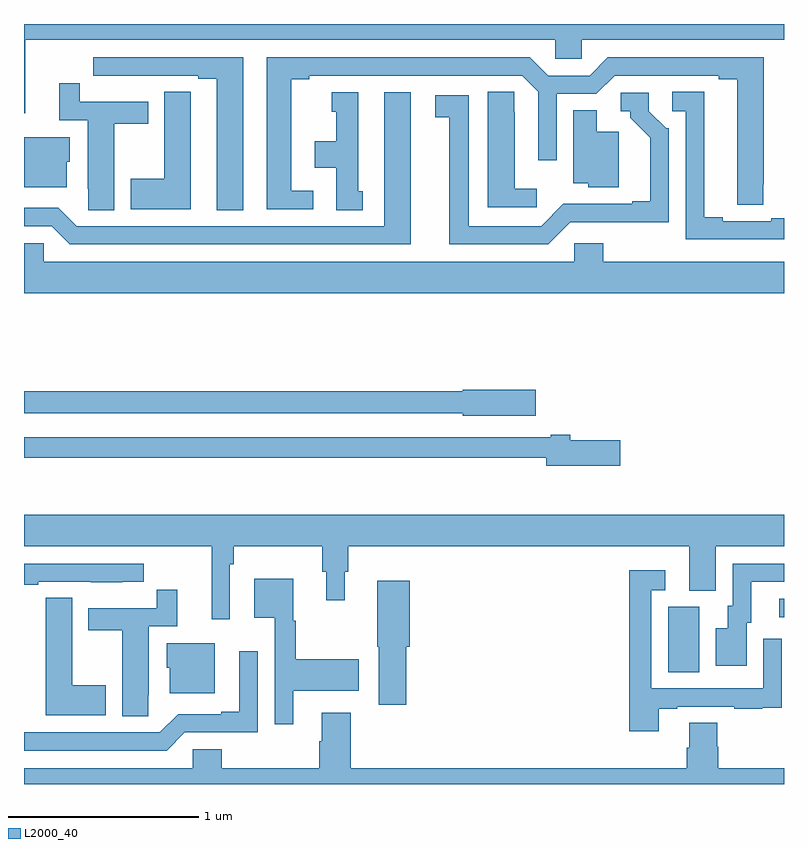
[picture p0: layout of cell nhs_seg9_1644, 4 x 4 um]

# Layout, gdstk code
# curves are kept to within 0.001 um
import gdstk
lib = gdstk.Library(unit=1e-6, precision=1e-09)
def R(c, l, rs):  # rectangles x0, y0, x1, y1
    for r in rs: c.add(gdstk.rectangle(r[:2], r[2:], *l))
def P(c, l, *ps):  # polygons
    for p in ps: c.add(gdstk.Polygon(p, *l))
L2000_40 = (2000, 40)

nhs_seg9_1644 = lib.new_cell('nhs_seg9_1644')
R(nhs_seg9_1644, L2000_40, [(206.39,1197.088,206.554,1197.432), (206.976,1197.378,207,1197.474)])
P(nhs_seg9_1644, L2000_40, [(203.006,1200.416),(205.797,1200.416),(205.797,1200.318),(205.935,1200.318),(205.935,1200.416),(207,1200.416),(207,1200.5),(203,1200.5),(203,1200.03),(203.006,1200.03)],
  [(204.523,1199.622),(204.406,1199.622),(204.406,1200.208),(204.502,1200.208),(204.502,1200.228),(205.623,1200.228),(205.707,1200.144),(205.707,1199.784),(205.803,1199.784),(205.803,1200.132),(206.013,1200.132),(206.109,1200.228),(206.657,1200.228),(206.657,1200.208),(206.753,1200.208),(206.753,1199.548),(206.892,1199.548),(206.893,1200.324),(206.073,1200.324),(205.977,1200.228),(205.759,1200.228),(205.663,1200.324),(204.278,1200.324),(204.278,1199.526),(204.523,1199.526)],
  [(204.154,1200.324),(203.364,1200.324),(203.364,1200.228),(203.476,1200.228),(203.476,1200.227),(203.642,1200.227),(203.642,1200.228),(203.918,1200.228),(203.918,1200.213),(204.014,1200.213),(204.014,1199.521),(204.154,1199.521)],
  [(203.476,1199.974),(203.653,1199.974),(203.653,1200.09),(203.294,1200.09),(203.294,1200.187),(203.186,1200.187),(203.186,1199.994),(203.336,1199.994),(203.336,1199.632),(203.337,1199.632),(203.337,1199.521),(203.476,1199.521)],
  [(205.699,1199.632),(205.582,1199.632),(205.582,1200.035),(205.581,1200.035),(205.581,1200.143),(205.442,1200.143),(205.442,1199.535),(205.699,1199.535)],
  [(203.878,1200.035),(203.877,1200.035),(203.877,1200.143),(203.738,1200.143),(203.738,1199.685),(203.561,1199.685),(203.561,1199.525),(203.878,1199.525)],
  [(207,1199.478),(206.933,1199.478),(206.933,1199.463),(206.677,1199.463),(206.677,1199.483),(206.581,1199.483),(206.581,1200.143),(206.412,1200.143),(206.412,1200.042),(206.484,1200.042),(206.484,1199.367),(207,1199.367)],
  [(205.036,1200.142),(204.896,1200.142),(204.896,1199.436),(203.277,1199.436),(203.181,1199.532),(203,1199.532),(203,1199.436),(203.145,1199.436),(203.241,1199.34),(205.036,1199.34)],
  [(204.784,1199.619),(204.76,1199.619),(204.76,1200.142),(204.62,1200.142),(204.62,1200.039),(204.644,1200.039),(204.644,1199.884),(204.53,1199.884),(204.53,1199.744),(204.644,1199.744),(204.644,1199.521),(204.784,1199.521)],
  [(205.875,1199.457),(206.394,1199.456),(206.394,1199.952),(206.379,1199.952),(206.289,1200.042),(206.289,1200.138),(206.142,1200.138),(206.142,1200.042),(206.192,1200.042),(206.192,1200.007),(206.297,1199.902),(206.297,1199.566),(206.201,1199.566),(206.201,1199.553),(205.839,1199.553),(205.722,1199.436),(205.342,1199.436),(205.342,1200.126),(205.164,1200.126),(205.164,1200.01),(205.238,1200.01),(205.238,1199.34),(205.758,1199.34)],
  [(206.131,1199.932),(206.014,1199.932),(206.014,1200.047),(205.892,1200.047),(205.892,1199.663),(205.971,1199.663),(205.971,1199.642),(206.131,1199.642)],
  [(203.224,1199.775),(203.242,1199.775),(203.242,1199.905),(203,1199.905),(203,1199.642),(203.224,1199.642)],
  [(207,1199.248),(206.048,1199.248),(206.048,1199.346),(205.896,1199.346),(205.896,1199.248),(203.103,1199.248),(203.103,1199.346),(203,1199.346),(203,1199.084),(207,1199.084)],
  [(205.693,1198.574),(205.308,1198.574),(205.308,1198.568),(203,1198.568),(203,1198.452),(205.308,1198.452),(205.308,1198.439),(205.693,1198.439)],
  [(206.137,1198.31),(205.876,1198.31),(205.876,1198.339),(205.772,1198.339),(205.772,1198.326),(203,1198.326),(203,1198.218),(205.748,1198.218),(205.748,1198.175),(206.137,1198.175)],
  [(203,1197.752),(203.987,1197.752),(203.987,1197.366),(204.084,1197.366),(204.084,1197.656),(204.104,1197.656),(204.104,1197.752),(204.571,1197.752),(204.571,1197.618),(204.59,1197.618),(204.59,1197.468),(204.688,1197.468),(204.688,1197.618),(204.707,1197.618),(204.707,1197.752),(206.501,1197.752),(206.501,1197.517),(206.641,1197.517),(206.641,1197.752),(207,1197.752),(207,1197.916),(203,1197.916)],
  [(203.074,1197.564),(203.35,1197.564),(203.35,1197.563),(203.516,1197.563),(203.516,1197.564),(203.629,1197.564),(203.629,1197.66),(203,1197.66),(203,1197.549),(203.074,1197.549)],
  [(206.803,1197.348),(206.827,1197.348),(206.827,1197.564),(207,1197.564),(207,1197.66),(206.73,1197.66),(206.73,1197.438),(206.705,1197.438),(206.705,1197.319),(206.642,1197.319),(206.642,1197.123),(206.803,1197.123)],
  [(206.341,1196.895),(206.437,1196.895),(206.437,1196.907),(206.737,1196.907),(206.737,1196.895),(206.885,1196.895),(206.885,1196.901),(206.987,1196.901),(206.987,1197.01),(206.988,1197.01),(206.988,1197.265),(206.892,1197.265),(206.892,1197.003),(206.301,1197.003),(206.301,1197.519),(206.374,1197.519),(206.374,1197.625),(206.185,1197.625),(206.185,1196.778),(206.341,1196.778)],
  [(204.418,1196.99),(204.763,1196.99),(204.763,1197.156),(204.43,1197.156),(204.43,1197.36),(204.418,1197.36),(204.418,1197.58),(204.212,1197.58),(204.212,1197.374),(204.321,1197.374),(204.321,1196.814),(204.418,1196.814)],
  [(205.013,1197.222),(205.031,1197.222),(205.031,1197.571),(204.86,1197.571),(204.86,1197.222),(204.866,1197.222),(204.866,1196.916),(205.013,1196.916)],
  [(203.655,1196.968),(203.656,1196.968),(203.656,1197.33),(203.807,1197.33),(203.807,1197.523),(203.698,1197.523),(203.698,1197.426),(203.339,1197.426),(203.339,1197.31),(203.516,1197.31),(203.516,1196.857),(203.655,1196.857)],
  [(203.431,1197.021),(203.254,1197.021),(203.254,1197.479),(203.115,1197.479),(203.115,1197.371),(203.114,1197.371),(203.114,1196.861),(203.431,1196.861)],
  [(204.004,1197.241),(203.75,1197.241),(203.75,1197.111),(203.768,1197.111),(203.768,1196.978),(204.004,1196.978)],
  [(203.847,1196.772),(204.231,1196.772),(204.231,1197.199),(204.134,1197.199),(204.134,1196.881),(204.038,1196.881),(204.038,1196.868),(203.811,1196.868),(203.715,1196.772),(203,1196.772),(203,1196.676),(203.751,1196.676)],
  [(207,1196.584),(206.654,1196.584),(206.654,1196.697),(206.649,1196.697),(206.649,1196.822),(206.501,1196.822),(206.501,1196.69),(206.489,1196.69),(206.489,1196.584),(204.719,1196.584),(204.719,1196.875),(204.566,1196.875),(204.566,1196.726),(204.554,1196.726),(204.554,1196.584),(204.041,1196.584),(204.041,1196.682),(203.889,1196.682),(203.889,1196.584),(203,1196.584),(203,1196.5),(207,1196.5)])

lib.write_gds('nhs_seg9_1644.gds')
